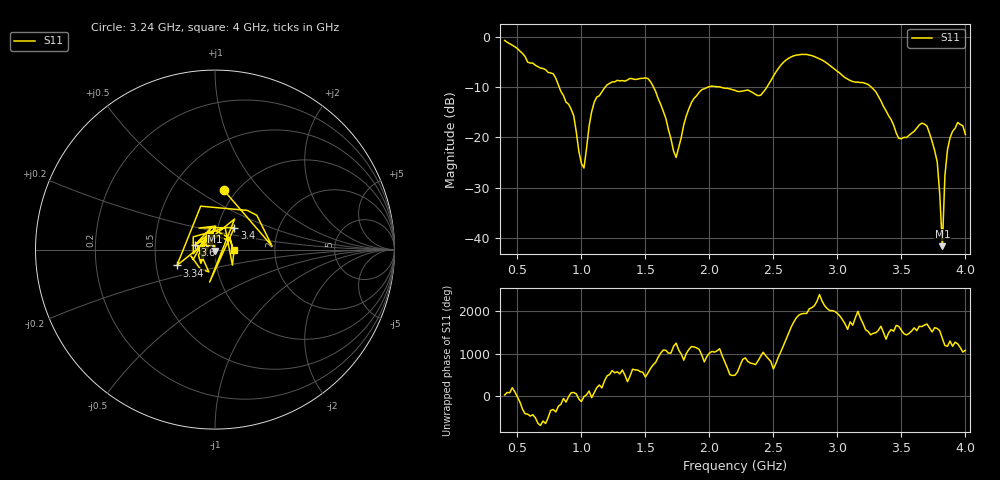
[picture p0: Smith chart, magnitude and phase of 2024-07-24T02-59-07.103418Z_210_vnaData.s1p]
!Created with skrf (http://scikit-rf.org).
# Hz S RI R 50.0
!freq ReS11 ImS11
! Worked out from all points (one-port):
!   181 points, 400 MHz to 4 GHz, reference 50 ohm
!   lowest |S11| = -41.6 dB at 3.82 GHz (marker M1), VSWR 1.02, Z = 50.1 - j0.826 ohm
!   |S11| at or under -10 dB: 825.9 MHz to 1.187 GHz (361.2 MHz wide, 35.9 % of centre); 1.563 GHz to 1.993 GHz (430.3 MHz wide, 24.2 % of centre); 3.263 GHz to end of sweep (the widest 3 of 4)
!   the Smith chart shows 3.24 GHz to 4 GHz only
!   S11 on the Smith chart (normalised r, x): 3.24 GHz: 0.88, +0.65; 3.34 GHz: 0.64, -0.12; 3.4 GHz: 1.20, +0.30; 3.6 GHz: 0.80, +0.04; 4 GHz: 1.24, -0.00
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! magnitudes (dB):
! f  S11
! 400 MHz  -0.8
! 860 MHz  -11.7
! 940 MHz  -15.7
! 1.02 GHz  -26.1
! 1.1 GHz  -13.1
! 1.3 GHz  -8.8
! 1.52 GHz  -8.3
! 1.74 GHz  -24.0
! 1.76 GHz  -22.0
! 1.84 GHz  -14.3
! 1.94 GHz  -10.6
! 2.2 GHz  -10.7
! 2.4 GHz  -11.7
! 2.66 GHz  -3.8
! 3.1 GHz  -8.7
! 3.24 GHz  -9.5
! 3.34 GHz  -12.8
! 3.4 GHz  -15.7
! 3.56 GHz  -19.6
! 3.6 GHz  -18.8
! 3.7 GHz  -17.8
! 3.76 GHz  -22.7
! 3.78 GHz  -24.9
! 3.82 GHz  -41.6
! 3.84 GHz  -27.6
! 3.86 GHz  -22.5
! 3.94 GHz  -17.0
! 4 GHz  -19.4
